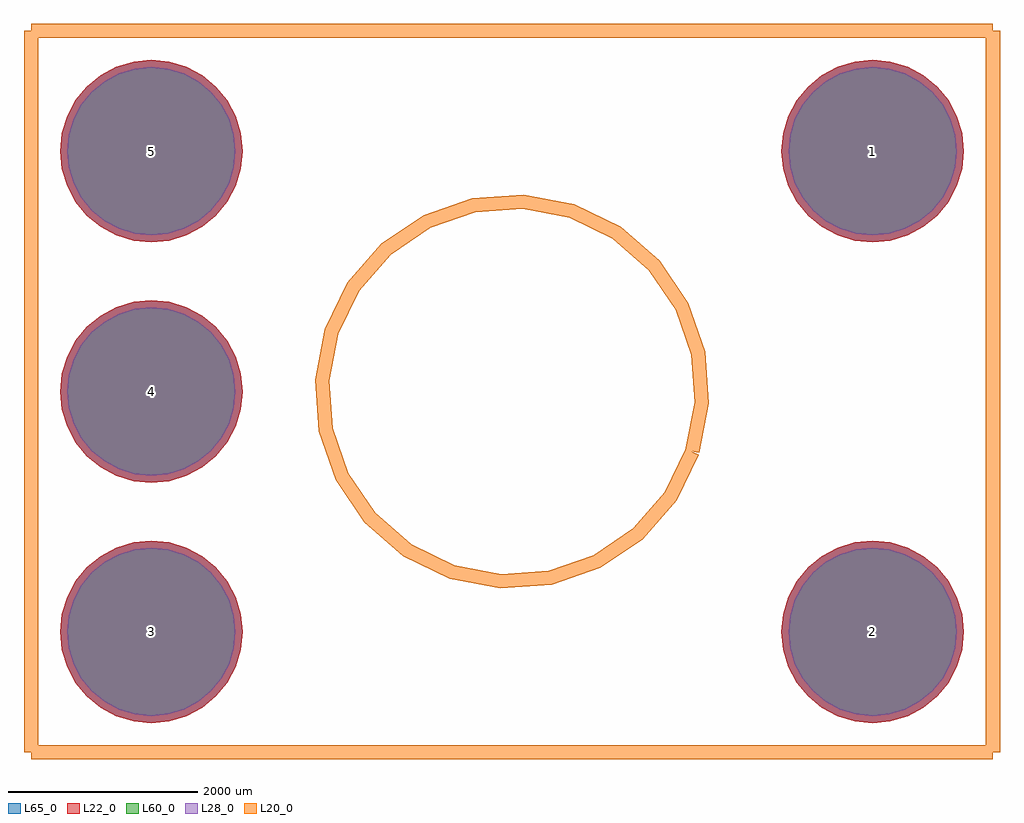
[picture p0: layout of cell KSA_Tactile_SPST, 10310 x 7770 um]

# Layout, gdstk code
import gdstk
lib = gdstk.Library(unit=1e-6, precision=1e-09)
def P(c, l, *ps):  # polygons
    for p in ps: c.add(gdstk.Polygon(p, *l))
L20_0 = (20, 0)
L22_0 = (22, 0)
L28_0 = (28, 0)
L60_0 = (60, 0)
L65_0 = (65, 0)

ksa_tactile_spst = lib.new_cell('KSA_Tactile_SPST')
P(ksa_tactile_spst, L22_0, [(-2846,2540),(-2864.523,2728.067),(-2919.38,2908.907),(-3008.463,3075.57),(-3128.349,3221.651),(-3274.43,3341.537),(-3441.093,3430.62),(-3621.933,3485.477),(-3810,3504),(-3998.067,3485.477),(-4178.907,3430.62),(-4345.57,3341.537),(-4491.651,3221.651),(-4611.537,3075.57),(-4700.62,2908.907),(-4755.477,2728.067),(-4774,2540),(-4755.477,2351.933),(-4700.62,2171.093),(-4611.537,2004.43),(-4491.651,1858.349),(-4345.57,1738.463),(-4178.907,1649.38),(-3998.067,1594.523),(-3810,1576),(-3621.933,1594.523),(-3441.093,1649.38),(-3274.43,1738.463),(-3128.349,1858.349),(-3008.463,2004.43),(-2919.38,2171.093),(-2864.523,2351.933)],
  [(-2846,0),(-2864.523,188.067),(-2919.38,368.907),(-3008.463,535.57),(-3128.349,681.651),(-3274.43,801.537),(-3441.093,890.62),(-3621.933,945.477),(-3810,964),(-3998.067,945.477),(-4178.907,890.62),(-4345.57,801.537),(-4491.651,681.651),(-4611.537,535.57),(-4700.62,368.907),(-4755.477,188.067),(-4774,0),(-4755.477,-188.067),(-4700.62,-368.907),(-4611.537,-535.57),(-4491.651,-681.651),(-4345.57,-801.537),(-4178.907,-890.62),(-3998.067,-945.477),(-3810,-964),(-3621.933,-945.477),(-3441.093,-890.62),(-3274.43,-801.537),(-3128.349,-681.651),(-3008.463,-535.57),(-2919.38,-368.907),(-2864.523,-188.067)],
  [(-2846,-2540),(-2864.523,-2351.933),(-2919.38,-2171.093),(-3008.463,-2004.43),(-3128.349,-1858.349),(-3274.43,-1738.463),(-3441.093,-1649.38),(-3621.933,-1594.523),(-3810,-1576),(-3998.067,-1594.523),(-4178.907,-1649.38),(-4345.57,-1738.463),(-4491.651,-1858.349),(-4611.537,-2004.43),(-4700.62,-2171.093),(-4755.477,-2351.933),(-4774,-2540),(-4755.477,-2728.067),(-4700.62,-2908.907),(-4611.537,-3075.57),(-4491.651,-3221.651),(-4345.57,-3341.537),(-4178.907,-3430.62),(-3998.067,-3485.477),(-3810,-3504),(-3621.933,-3485.477),(-3441.093,-3430.62),(-3274.43,-3341.537),(-3128.349,-3221.651),(-3008.463,-3075.57),(-2919.38,-2908.907),(-2864.523,-2728.067)],
  [(4774,-2540),(4755.477,-2351.933),(4700.62,-2171.093),(4611.537,-2004.43),(4491.651,-1858.349),(4345.57,-1738.463),(4178.907,-1649.38),(3998.067,-1594.523),(3810,-1576),(3621.933,-1594.523),(3441.093,-1649.38),(3274.43,-1738.463),(3128.349,-1858.349),(3008.463,-2004.43),(2919.38,-2171.093),(2864.523,-2351.933),(2846,-2540),(2864.523,-2728.067),(2919.38,-2908.907),(3008.463,-3075.57),(3128.349,-3221.651),(3274.43,-3341.537),(3441.093,-3430.62),(3621.933,-3485.477),(3810,-3504),(3998.067,-3485.477),(4178.907,-3430.62),(4345.57,-3341.537),(4491.651,-3221.651),(4611.537,-3075.57),(4700.62,-2908.907),(4755.477,-2728.067)],
  [(4774,2540),(4755.477,2728.067),(4700.62,2908.907),(4611.537,3075.57),(4491.651,3221.651),(4345.57,3341.537),(4178.907,3430.62),(3998.067,3485.477),(3810,3504),(3621.933,3485.477),(3441.093,3430.62),(3274.43,3341.537),(3128.349,3221.651),(3008.463,3075.57),(2919.38,2908.907),(2864.523,2728.067),(2846,2540),(2864.523,2351.933),(2919.38,2171.093),(3008.463,2004.43),(3128.349,1858.349),(3274.43,1738.463),(3441.093,1649.38),(3621.933,1594.523),(3810,1576),(3998.067,1594.523),(4178.907,1649.38),(4345.57,1738.463),(4491.651,1858.349),(4611.537,2004.43),(4700.62,2171.093),(4755.477,2351.933)])
P(ksa_tactile_spst, L28_0, [(-2921,2540),(-2938.082,2713.435),(-2988.671,2880.206),(-3070.824,3033.902),(-3181.382,3168.618),(-3316.098,3279.176),(-3469.794,3361.329),(-3636.565,3411.918),(-3810,3429),(-3983.435,3411.918),(-4150.206,3361.329),(-4303.902,3279.176),(-4438.618,3168.618),(-4549.176,3033.902),(-4631.329,2880.206),(-4681.918,2713.435),(-4699,2540),(-4681.918,2366.565),(-4631.329,2199.794),(-4549.176,2046.098),(-4438.618,1911.382),(-4303.902,1800.824),(-4150.206,1718.671),(-3983.435,1668.082),(-3810,1651),(-3636.565,1668.082),(-3469.794,1718.671),(-3316.098,1800.824),(-3181.382,1911.382),(-3070.824,2046.098),(-2988.671,2199.794),(-2938.082,2366.565)],
  [(-2921,0),(-2938.082,173.435),(-2988.671,340.206),(-3070.824,493.902),(-3181.382,628.618),(-3316.098,739.176),(-3469.794,821.329),(-3636.565,871.918),(-3810,889),(-3983.435,871.918),(-4150.206,821.329),(-4303.902,739.176),(-4438.618,628.618),(-4549.176,493.902),(-4631.329,340.206),(-4681.918,173.435),(-4699,0),(-4681.918,-173.435),(-4631.329,-340.206),(-4549.176,-493.902),(-4438.618,-628.618),(-4303.902,-739.176),(-4150.206,-821.329),(-3983.435,-871.918),(-3810,-889),(-3636.565,-871.918),(-3469.794,-821.329),(-3316.098,-739.176),(-3181.382,-628.618),(-3070.824,-493.902),(-2988.671,-340.206),(-2938.082,-173.435)],
  [(-2921,-2540),(-2938.082,-2366.565),(-2988.671,-2199.794),(-3070.824,-2046.098),(-3181.382,-1911.382),(-3316.098,-1800.824),(-3469.794,-1718.671),(-3636.565,-1668.082),(-3810,-1651),(-3983.435,-1668.082),(-4150.206,-1718.671),(-4303.902,-1800.824),(-4438.618,-1911.382),(-4549.176,-2046.098),(-4631.329,-2199.794),(-4681.918,-2366.565),(-4699,-2540),(-4681.918,-2713.435),(-4631.329,-2880.206),(-4549.176,-3033.902),(-4438.618,-3168.618),(-4303.902,-3279.176),(-4150.206,-3361.329),(-3983.435,-3411.918),(-3810,-3429),(-3636.565,-3411.918),(-3469.794,-3361.329),(-3316.098,-3279.176),(-3181.382,-3168.618),(-3070.824,-3033.902),(-2988.671,-2880.206),(-2938.082,-2713.435)],
  [(4699,-2540),(4681.918,-2366.565),(4631.329,-2199.794),(4549.176,-2046.098),(4438.618,-1911.382),(4303.902,-1800.824),(4150.206,-1718.671),(3983.435,-1668.082),(3810,-1651),(3636.565,-1668.082),(3469.794,-1718.671),(3316.098,-1800.824),(3181.382,-1911.382),(3070.824,-2046.098),(2988.671,-2199.794),(2938.082,-2366.565),(2921,-2540),(2938.082,-2713.435),(2988.671,-2880.206),(3070.824,-3033.902),(3181.382,-3168.618),(3316.098,-3279.176),(3469.794,-3361.329),(3636.565,-3411.918),(3810,-3429),(3983.435,-3411.918),(4150.206,-3361.329),(4303.902,-3279.176),(4438.618,-3168.618),(4549.176,-3033.902),(4631.329,-2880.206),(4681.918,-2713.435)],
  [(4699,2540),(4681.918,2713.435),(4631.329,2880.206),(4549.176,3033.902),(4438.618,3168.618),(4303.902,3279.176),(4150.206,3361.329),(3983.435,3411.918),(3810,3429),(3636.565,3411.918),(3469.794,3361.329),(3316.098,3279.176),(3181.382,3168.618),(3070.824,3033.902),(2988.671,2880.206),(2938.082,2713.435),(2921,2540),(2938.082,2366.565),(2988.671,2199.794),(3070.824,2046.098),(3181.382,1911.382),(3316.098,1800.824),(3469.794,1718.671),(3636.565,1668.082),(3810,1651),(3983.435,1668.082),(4150.206,1718.671),(4303.902,1800.824),(4438.618,1911.382),(4549.176,2046.098),(4631.329,2199.794),(4681.918,2366.565)])
P(ksa_tactile_spst, L60_0, [(-2921,2540),(-2938.082,2713.435),(-2988.671,2880.206),(-3070.824,3033.902),(-3181.382,3168.618),(-3316.098,3279.176),(-3469.794,3361.329),(-3636.565,3411.918),(-3810,3429),(-3983.435,3411.918),(-4150.206,3361.329),(-4303.902,3279.176),(-4438.618,3168.618),(-4549.176,3033.902),(-4631.329,2880.206),(-4681.918,2713.435),(-4699,2540),(-4681.918,2366.565),(-4631.329,2199.794),(-4549.176,2046.098),(-4438.618,1911.382),(-4303.902,1800.824),(-4150.206,1718.671),(-3983.435,1668.082),(-3810,1651),(-3636.565,1668.082),(-3469.794,1718.671),(-3316.098,1800.824),(-3181.382,1911.382),(-3070.824,2046.098),(-2988.671,2199.794),(-2938.082,2366.565)],
  [(-2921,0),(-2938.082,173.435),(-2988.671,340.206),(-3070.824,493.902),(-3181.382,628.618),(-3316.098,739.176),(-3469.794,821.329),(-3636.565,871.918),(-3810,889),(-3983.435,871.918),(-4150.206,821.329),(-4303.902,739.176),(-4438.618,628.618),(-4549.176,493.902),(-4631.329,340.206),(-4681.918,173.435),(-4699,0),(-4681.918,-173.435),(-4631.329,-340.206),(-4549.176,-493.902),(-4438.618,-628.618),(-4303.902,-739.176),(-4150.206,-821.329),(-3983.435,-871.918),(-3810,-889),(-3636.565,-871.918),(-3469.794,-821.329),(-3316.098,-739.176),(-3181.382,-628.618),(-3070.824,-493.902),(-2988.671,-340.206),(-2938.082,-173.435)],
  [(-2921,-2540),(-2938.082,-2366.565),(-2988.671,-2199.794),(-3070.824,-2046.098),(-3181.382,-1911.382),(-3316.098,-1800.824),(-3469.794,-1718.671),(-3636.565,-1668.082),(-3810,-1651),(-3983.435,-1668.082),(-4150.206,-1718.671),(-4303.902,-1800.824),(-4438.618,-1911.382),(-4549.176,-2046.098),(-4631.329,-2199.794),(-4681.918,-2366.565),(-4699,-2540),(-4681.918,-2713.435),(-4631.329,-2880.206),(-4549.176,-3033.902),(-4438.618,-3168.618),(-4303.902,-3279.176),(-4150.206,-3361.329),(-3983.435,-3411.918),(-3810,-3429),(-3636.565,-3411.918),(-3469.794,-3361.329),(-3316.098,-3279.176),(-3181.382,-3168.618),(-3070.824,-3033.902),(-2988.671,-2880.206),(-2938.082,-2713.435)],
  [(4699,-2540),(4681.918,-2366.565),(4631.329,-2199.794),(4549.176,-2046.098),(4438.618,-1911.382),(4303.902,-1800.824),(4150.206,-1718.671),(3983.435,-1668.082),(3810,-1651),(3636.565,-1668.082),(3469.794,-1718.671),(3316.098,-1800.824),(3181.382,-1911.382),(3070.824,-2046.098),(2988.671,-2199.794),(2938.082,-2366.565),(2921,-2540),(2938.082,-2713.435),(2988.671,-2880.206),(3070.824,-3033.902),(3181.382,-3168.618),(3316.098,-3279.176),(3469.794,-3361.329),(3636.565,-3411.918),(3810,-3429),(3983.435,-3411.918),(4150.206,-3361.329),(4303.902,-3279.176),(4438.618,-3168.618),(4549.176,-3033.902),(4631.329,-2880.206),(4681.918,-2713.435)],
  [(4699,2540),(4681.918,2713.435),(4631.329,2880.206),(4549.176,3033.902),(4438.618,3168.618),(4303.902,3279.176),(4150.206,3361.329),(3983.435,3411.918),(3810,3429),(3636.565,3411.918),(3469.794,3361.329),(3316.098,3279.176),(3181.382,3168.618),(3070.824,3033.902),(2988.671,2880.206),(2938.082,2713.435),(2921,2540),(2938.082,2366.565),(2988.671,2199.794),(3070.824,2046.098),(3181.382,1911.382),(3316.098,1800.824),(3469.794,1718.671),(3636.565,1668.082),(3810,1651),(3983.435,1668.082),(4150.206,1718.671),(4303.902,1800.824),(4438.618,1911.382),(4549.176,2046.098),(4631.329,2199.794),(4681.918,2366.565)])
P(ksa_tactile_spst, L65_0, [(-2846,2540),(-2864.523,2728.067),(-2919.38,2908.907),(-3008.463,3075.57),(-3128.349,3221.651),(-3274.43,3341.537),(-3441.093,3430.62),(-3621.933,3485.477),(-3810,3504),(-3998.067,3485.477),(-4178.907,3430.62),(-4345.57,3341.537),(-4491.651,3221.651),(-4611.537,3075.57),(-4700.62,2908.907),(-4755.477,2728.067),(-4774,2540),(-4755.477,2351.933),(-4700.62,2171.093),(-4611.537,2004.43),(-4491.651,1858.349),(-4345.57,1738.463),(-4178.907,1649.38),(-3998.067,1594.523),(-3810,1576),(-3621.933,1594.523),(-3441.093,1649.38),(-3274.43,1738.463),(-3128.349,1858.349),(-3008.463,2004.43),(-2919.38,2171.093),(-2864.523,2351.933)],
  [(-2846,0),(-2864.523,188.067),(-2919.38,368.907),(-3008.463,535.57),(-3128.349,681.651),(-3274.43,801.537),(-3441.093,890.62),(-3621.933,945.477),(-3810,964),(-3998.067,945.477),(-4178.907,890.62),(-4345.57,801.537),(-4491.651,681.651),(-4611.537,535.57),(-4700.62,368.907),(-4755.477,188.067),(-4774,0),(-4755.477,-188.067),(-4700.62,-368.907),(-4611.537,-535.57),(-4491.651,-681.651),(-4345.57,-801.537),(-4178.907,-890.62),(-3998.067,-945.477),(-3810,-964),(-3621.933,-945.477),(-3441.093,-890.62),(-3274.43,-801.537),(-3128.349,-681.651),(-3008.463,-535.57),(-2919.38,-368.907),(-2864.523,-188.067)],
  [(-2846,-2540),(-2864.523,-2351.933),(-2919.38,-2171.093),(-3008.463,-2004.43),(-3128.349,-1858.349),(-3274.43,-1738.463),(-3441.093,-1649.38),(-3621.933,-1594.523),(-3810,-1576),(-3998.067,-1594.523),(-4178.907,-1649.38),(-4345.57,-1738.463),(-4491.651,-1858.349),(-4611.537,-2004.43),(-4700.62,-2171.093),(-4755.477,-2351.933),(-4774,-2540),(-4755.477,-2728.067),(-4700.62,-2908.907),(-4611.537,-3075.57),(-4491.651,-3221.651),(-4345.57,-3341.537),(-4178.907,-3430.62),(-3998.067,-3485.477),(-3810,-3504),(-3621.933,-3485.477),(-3441.093,-3430.62),(-3274.43,-3341.537),(-3128.349,-3221.651),(-3008.463,-3075.57),(-2919.38,-2908.907),(-2864.523,-2728.067)],
  [(4774,-2540),(4755.477,-2351.933),(4700.62,-2171.093),(4611.537,-2004.43),(4491.651,-1858.349),(4345.57,-1738.463),(4178.907,-1649.38),(3998.067,-1594.523),(3810,-1576),(3621.933,-1594.523),(3441.093,-1649.38),(3274.43,-1738.463),(3128.349,-1858.349),(3008.463,-2004.43),(2919.38,-2171.093),(2864.523,-2351.933),(2846,-2540),(2864.523,-2728.067),(2919.38,-2908.907),(3008.463,-3075.57),(3128.349,-3221.651),(3274.43,-3341.537),(3441.093,-3430.62),(3621.933,-3485.477),(3810,-3504),(3998.067,-3485.477),(4178.907,-3430.62),(4345.57,-3341.537),(4491.651,-3221.651),(4611.537,-3075.57),(4700.62,-2908.907),(4755.477,-2728.067)],
  [(4774,2540),(4755.477,2728.067),(4700.62,2908.907),(4611.537,3075.57),(4491.651,3221.651),(4345.57,3341.537),(4178.907,3430.62),(3998.067,3485.477),(3810,3504),(3621.933,3485.477),(3441.093,3430.62),(3274.43,3341.537),(3128.349,3221.651),(3008.463,3075.57),(2919.38,2908.907),(2864.523,2728.067),(2846,2540),(2864.523,2351.933),(2919.38,2171.093),(3008.463,2004.43),(3128.349,1858.349),(3274.43,1738.463),(3441.093,1649.38),(3621.933,1594.523),(3810,1576),(3998.067,1594.523),(4178.907,1649.38),(4345.57,1738.463),(4491.651,1858.349),(4611.537,2004.43),(4700.62,2171.093),(4755.477,2351.933)])
ksa_tactile_spst.add(gdstk.FlexPath([(1905,-635),(2004.439,-120.313),(1967.278,402.574),(1796.051,898.026),(1502.426,1332.278),(1106.413,1675.739),(635,1905),(120.313,2004.439),(-402.574,1967.278),(-898.026,1796.051),(-1332.278,1502.426),(-1675.739,1106.413),(-1905,635),(-2004.439,120.313),(-1967.278,-402.574),(-1796.051,-898.026),(-1502.426,-1332.278),(-1106.413,-1675.739),(-635,-1905),(-120.313,-2004.439),(402.574,-1967.278),(898.026,-1796.051),(1332.278,-1502.426),(1675.739,-1106.413),(1905,-635)], 149.998, ends="flush", simple_path=True, layer=20, datatype=0))  # L20_0
ksa_tactile_spst.add(gdstk.FlexPath([(-5080,-3810),(-3810,-3810)], 149.998, ends="flush", simple_path=True, layer=20, datatype=0))  # L20_0
ksa_tactile_spst.add(gdstk.FlexPath([(-5080,3810),(-5080,-3810)], 149.998, ends="flush", simple_path=True, layer=20, datatype=0))  # L20_0
ksa_tactile_spst.add(gdstk.FlexPath([(5080,3810),(-5080,3810)], 149.998, ends="flush", simple_path=True, layer=20, datatype=0))  # L20_0
ksa_tactile_spst.add(gdstk.FlexPath([(5080,-3810),(5080,3810)], 149.998, ends="flush", simple_path=True, layer=20, datatype=0))  # L20_0
ksa_tactile_spst.add(gdstk.FlexPath([(-3810,-3810),(5080,-3810)], 149.998, ends="flush", simple_path=True, layer=20, datatype=0))  # L20_0
ksa_tactile_spst.add(gdstk.Label('5', (-3810,2540), layer=28, texttype=0))
ksa_tactile_spst.add(gdstk.Label('4', (-3810,0), layer=28, texttype=0))
ksa_tactile_spst.add(gdstk.Label('3', (-3810,-2540), layer=28, texttype=0))
ksa_tactile_spst.add(gdstk.Label('2', (3810,-2540), layer=28, texttype=0))
ksa_tactile_spst.add(gdstk.Label('1', (3810,2540), layer=28, texttype=0))
ksa_tactile_spst.add(gdstk.Label('type', (-127,4953), layer=9, texttype=0))
ksa_tactile_spst.add(gdstk.Label('devicename', (381,-4699), layer=9, texttype=0))

lib.write_gds('KSA_Tactile_SPST.gds')
